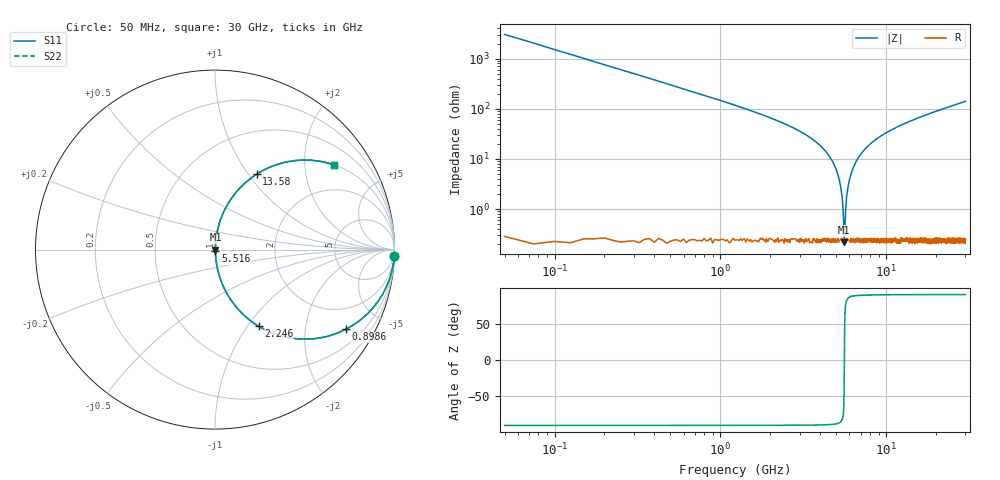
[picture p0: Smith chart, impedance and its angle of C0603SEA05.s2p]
!	AVX Thin Film Operation 	Date: April 2014
!	Description: Accu-P® Series, Thin Film  SMD RF Capacitor
!	Part Number: 06031JA05PBSTR
# MHZ S MA R 50
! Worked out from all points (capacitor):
!   1201 points, 50 MHz to 30 GHz, reference 50 ohm
!   read as one part in series: C = 1.05 pF near 199.8 MHz
!   lowest |Z| = 220 mohm at 5.591 GHz (marker M1)
!   series resonance near 5.59 GHz, so ESL is about 770 pH
!   S11 on the Smith chart (normalised r, x): 50 MHz: 2, -61; 898.6 MHz: 1.00, -3.29; 2.246 GHz: 1.00, -1.13; 5.516 GHz: 1.00, -0.01; 13.58 GHz: 1.00, +1.09; 30 GHz: 1.00, +2.81
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50  0.999 -1.9  0.033 88.1  0.033 88.1  0.999 -1.9
249.667  0.987 -9.4  0.163 80.6  0.163 80.6  0.987 -9.4
374.458  0.97 -13.9  0.241 76.0  0.241 76.0  0.97 -13.9
898.583  0.854 -31.3  0.52 58.6  0.52 58.6  0.854 -31.3
1447.667  0.698 -45.6  0.714 44.3  0.714 44.3  0.698 -45.6
2246.333  0.492 -60.3  0.869 29.4  0.869 29.4  0.492 -60.3
4068.292  0.172 -79.3  0.983 9.9  0.983 9.9  0.172 -79.3
5041.667  0.056 -84.4  0.996 3.2  0.996 3.2  0.056 -84.4
5291.25  0.03 -83.7  0.997 1.7  0.997 1.7  0.03 -83.7
5515.875  0.007611 -71.3  0.998 0.4  0.998 0.4  0.007611 -71.3
5590.75  0.002386 1.6  0.998 -0.0  0.998 -0.0  0.002386 1.6
5690.583  0.009932 75.6  0.998 -0.6  0.998 -0.6  0.009932 75.6
5840.333  0.024 82.9  0.997 -1.4  0.997 -1.4  0.024 82.9
6015.042  0.04 84.3  0.997 -2.3  0.997 -2.3  0.04 84.3
6663.958  0.095 83.1  0.993 -5.5  0.993 -5.5  0.095 83.1
7986.75  0.193 78.2  0.979 -11.2  0.979 -11.2  0.193 78.2
10058.29  0.319 71.0  0.946 -18.6  0.946 -18.6  0.319 71.0
13577.42  0.479 61.1  0.876 -28.6  0.876 -28.6  0.479 61.1
15025  0.531 57.7  0.845 -32.1  0.845 -32.1  0.531 57.7
20016.67  0.666 48.1  0.744 -41.8  0.744 -41.8  0.666 48.1
25033.29  0.755 40.9  0.654 -49.0  0.654 -49.0  0.755 40.9
30000  0.814 35.4  0.579 -54.5  0.579 -54.5  0.814 35.4
